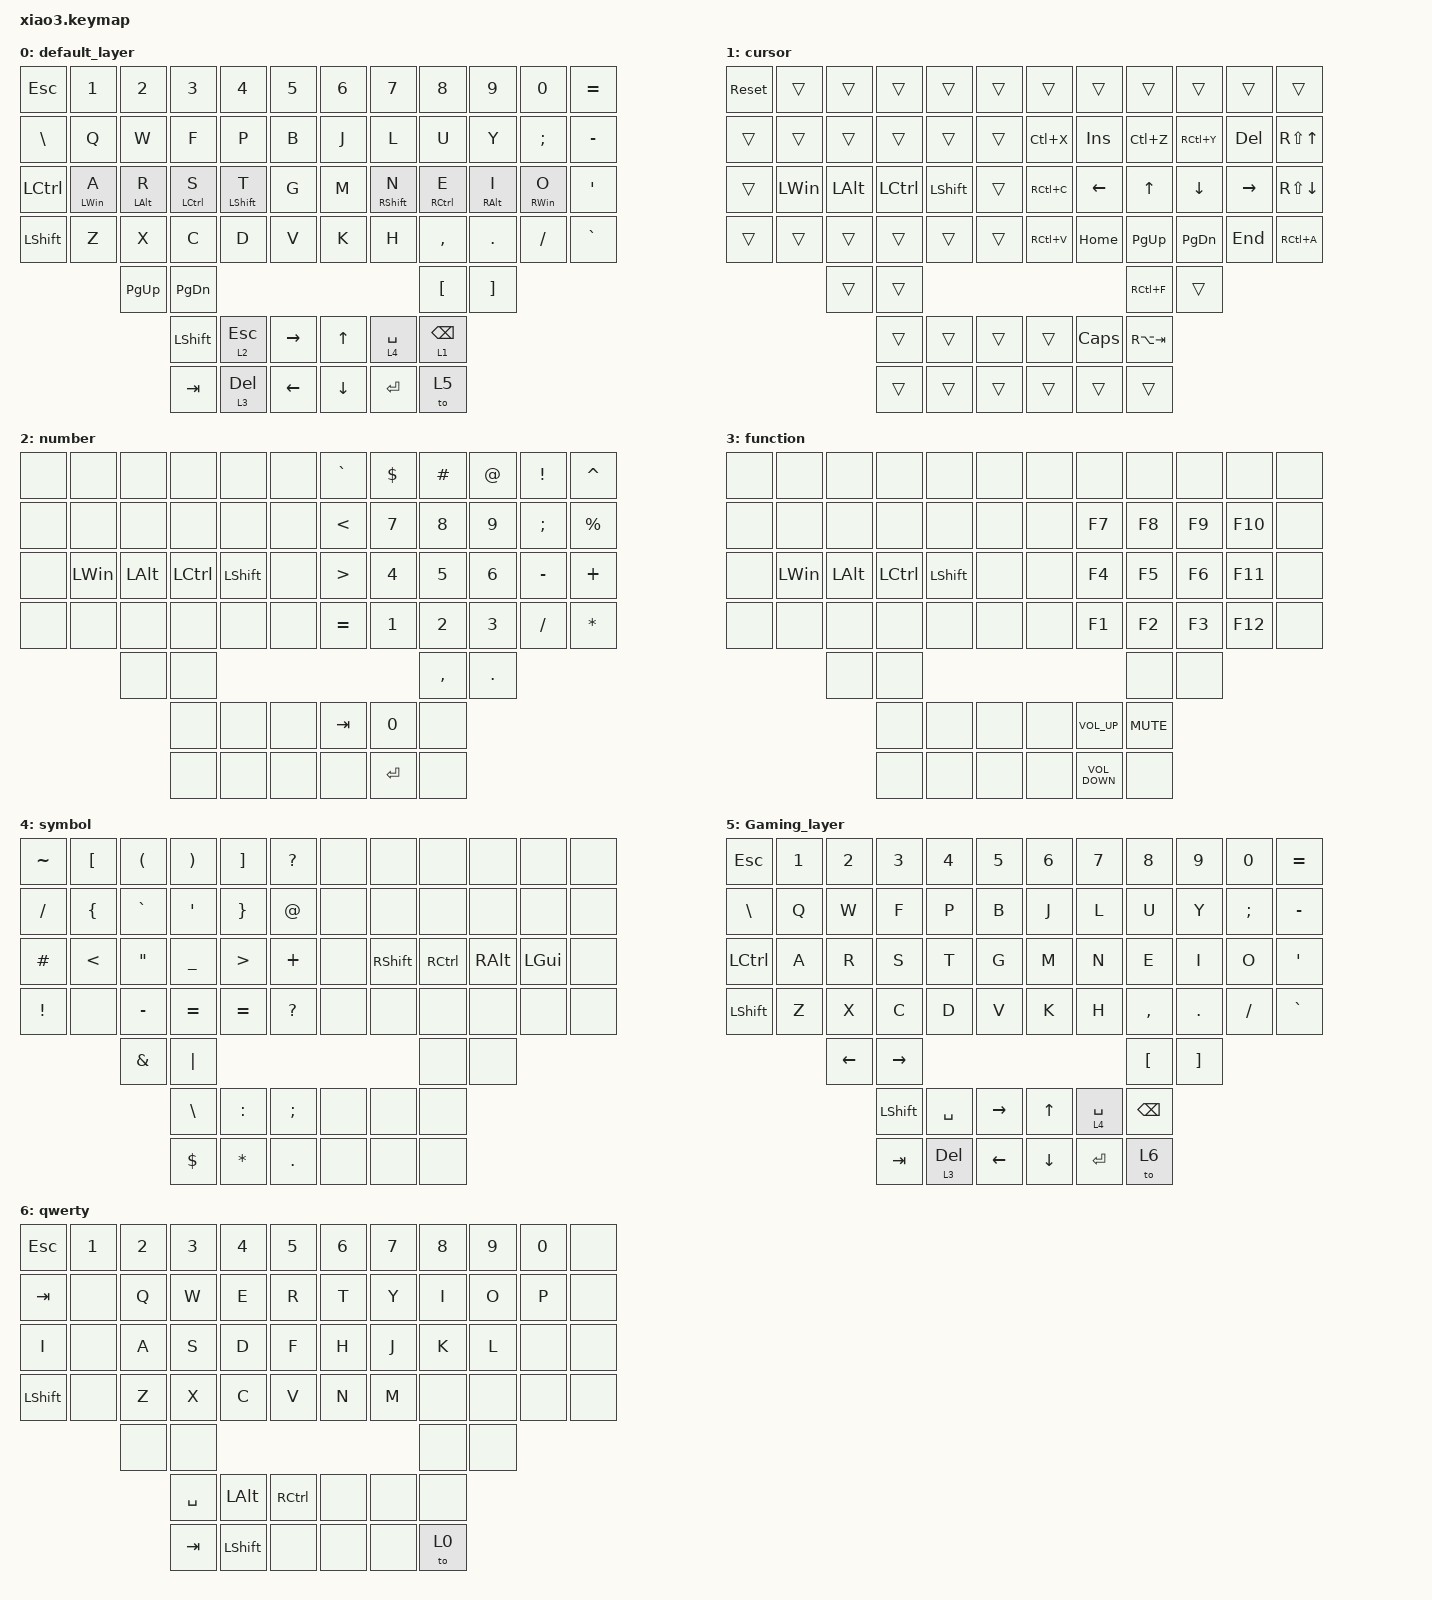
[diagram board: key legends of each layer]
/*
 * Copyright (c) 2020 The ZMK Contributors
 *
 * SPDX-License-Identifier: MIT
 */

#include <behaviors.dtsi>
#include <dt-bindings/zmk/keys.h>

&mt {
    flavor = "balanced";
    hold-trigger-on-release;
    quick-tap-ms = <175>;
    require-prior-idle-ms = <150>;
};

/ {
    keymap {
        compatible = "zmk,keymap";

        default_layer {
            bindings = <
&kp ESC         &kp N1          &kp N2          &kp N3          &kp N4            &kp N5       &kp N6        &kp N7             &kp N8           &kp N9           &kp N0           &kp EQUAL
&kp BSLH        &kp Q           &kp W           &kp F           &kp P             &kp B        &kp J         &kp L              &kp U            &kp Y            &kp SEMI         &kp MINUS
&kp LCTRL       &mt LEFT_WIN A  &mt LEFT_ALT R  &mt LCTRL S     &mt LEFT_SHIFT T  &kp G        &kp M         &mt RIGHT_SHIFT N  &mt RCTRL E      &mt RIGHT_ALT I  &mt RIGHT_WIN O  &kp APOS
&kp LEFT_SHIFT  &kp Z           &kp X           &kp C           &kp D             &kp V        &kp K         &kp H              &kp COMMA        &kp DOT          &kp FSLH         &kp GRAVE
                                &kp PAGE_UP     &kp PAGE_DOWN                                                                   &kp LBKT         &kp RBKT
                                                &kp LEFT_SHIFT  &lt 2 ESCAPE      &kp RIGHT    &kp UP_ARROW  &lt 4 SPACE        &lt 1 BACKSPACE
                                                &kp TAB         &lt 3 DELETE      &kp LEFT     &kp DOWN      &kp ENTER          &to 5
            >;
        };

        cursor {
            bindings = <
&sys_reset  &trans        &trans        &trans     &trans          &trans    &trans     &trans          &trans        &trans         &trans      &trans
&trans      &trans        &trans        &trans     &trans          &trans    &kp LC(X)  &kp INS         &kp LC(Z)     &kp RC(Y)      &kp DELETE  &kp RS(UP_ARROW)
&trans      &kp LEFT_WIN  &kp LEFT_ALT  &kp LCTRL  &kp LEFT_SHIFT  &trans    &kp RC(C)  &kp LEFT_ARROW  &kp UP_ARROW  &kp DOWN       &kp RIGHT   &kp RS(DOWN)
&trans      &trans        &trans        &trans     &trans          &trans    &kp RC(V)  &kp HOME        &kp PAGE_UP   &kp PAGE_DOWN  &kp END     &kp RC(A)
                          &trans        &trans                                                          &kp RC(F)     &trans
                                        &trans     &trans          &trans    &trans     &kp CAPSLOCK    &kp RA(TAB)
                                        &trans     &trans          &trans    &trans     &trans          &trans
            >;
        };

        number {
            bindings = <
&none  &none         &none         &none      &none           &none    &kp GRAVE         &kp DOLLAR  &kp HASH   &kp AT_SIGN  &kp EXCLAMATION  &kp CARET
&none  &none         &none         &none      &none           &none    &kp LESS_THAN     &kp N7      &kp N8     &kp N9       &kp SEMI         &kp PERCENT
&none  &kp LEFT_WIN  &kp LEFT_ALT  &kp LCTRL  &kp LEFT_SHIFT  &none    &kp GREATER_THAN  &kp N4      &kp N5     &kp N6       &kp MINUS        &kp PLUS
&none  &none         &none         &none      &none           &none    &kp EQUAL         &kp N1      &kp N2     &kp N3       &kp FSLH         &kp ASTERISK
                     &none         &none                                                             &kp COMMA  &kp DOT
                                   &none      &none           &none    &kp TAB           &kp N0      &none
                                   &none      &none           &none    &none             &kp ENTER   &none
            >;
        };

        function {
            bindings = <
&none  &none         &none     &none      &none      &none    &none  &none              &none       &none   &none    &none
&none  &none         &none     &none      &none      &none    &none  &kp F7             &kp F8      &kp F9  &kp F10  &none
&none  &kp LEFT_WIN  &kp LALT  &kp LCTRL  &kp LSHFT  &none    &none  &kp F4             &kp F5      &kp F6  &kp F11  &none
&none  &none         &none     &none      &none      &none    &none  &kp F1             &kp F2      &kp F3  &kp F12  &none
                     &none     &none                                                    &none       &none
                               &none      &none      &none    &none  &kp C_VOLUME_UP    &kp K_MUTE
                               &none      &none      &none    &none  &kp C_VOLUME_DOWN  &none
            >;
        };

        symbol {
            bindings = <
&kp TILDE        &kp LEFT_BRACKET  &kp LEFT_PARENTHESIS  &kp RIGHT_PARENTHESIS  &kp RIGHT_BRACKET  &kp QUESTION    &none  &none      &none      &none     &none     &none
&kp SLASH        &kp LEFT_BRACE    &kp GRAVE             &kp SQT                &kp RIGHT_BRACE    &kp AT_SIGN     &none  &none      &none      &none     &none     &none
&kp HASH         &kp LESS_THAN     &kp DOUBLE_QUOTES     &kp UNDERSCORE         &kp GREATER_THAN   &kp PLUS        &none  &kp RSHFT  &kp RCTRL  &kp RALT  &kp LGUI  &none
&kp EXCLAMATION  &none             &kp MINUS             &kp EQUAL              &kp EQUAL          &kp QUESTION    &none  &none      &none      &none     &none     &none
                                   &kp AMPERSAND         &kp PIPE                                                                    &none      &none
                                                         &kp BACKSLASH          &kp COLON          &kp SEMI        &none  &none      &none
                                                         &kp DOLLAR             &kp ASTERISK       &kp PERIOD      &none  &none      &none
            >;
        };

        Gaming_layer {
            bindings = <
&kp ESC         &kp N1  &kp N2    &kp N3          &kp N4        &kp N5       &kp N6        &kp N7       &kp N8         &kp N9    &kp N0    &kp EQUAL
&kp BSLH        &kp Q   &kp W     &kp F           &kp P         &kp B        &kp J         &kp L        &kp U          &kp Y     &kp SEMI  &kp MINUS
&kp LCTRL       &kp A   &kp R     &kp S           &kp T         &kp G        &kp M         &kp N        &kp E          &kp I     &kp O     &kp APOS
&kp LEFT_SHIFT  &kp Z   &kp X     &kp C           &kp D         &kp V        &kp K         &kp H        &kp COMMA      &kp DOT   &kp FSLH  &kp GRAVE
                        &kp LEFT  &kp RIGHT                                                             &kp LBKT       &kp RBKT
                                  &kp LEFT_SHIFT  &kp SPACE     &kp RIGHT    &kp UP_ARROW  &lt 4 SPACE  &kp BACKSPACE
                                  &kp TAB         &lt 3 DELETE  &kp LEFT     &kp DOWN      &kp ENTER    &to 6
            >;
        };

        qwerty {
            bindings = <
&kp ESC    &kp N1  &kp N2  &kp N3     &kp N4          &kp N5       &kp N6  &kp N7  &kp N8  &kp N9  &kp N0  &none
&kp TAB    &none   &kp Q   &kp W      &kp E           &kp R        &kp T   &kp Y   &kp I   &kp O   &kp P   &none
&kp I      &none   &kp A   &kp S      &kp D           &kp F        &kp H   &kp J   &kp K   &kp L   &none   &none
&kp LSHFT  &none   &kp Z   &kp X      &kp C           &kp V        &kp N   &kp M   &none   &none   &none   &none
                   &none   &none                                                   &none   &none
                           &kp SPACE  &kp LALT        &kp RCTRL    &none   &none   &none
                           &kp TAB    &kp LEFT_SHIFT  &none        &none   &none   &to 0
            >;
        };
    };
};
